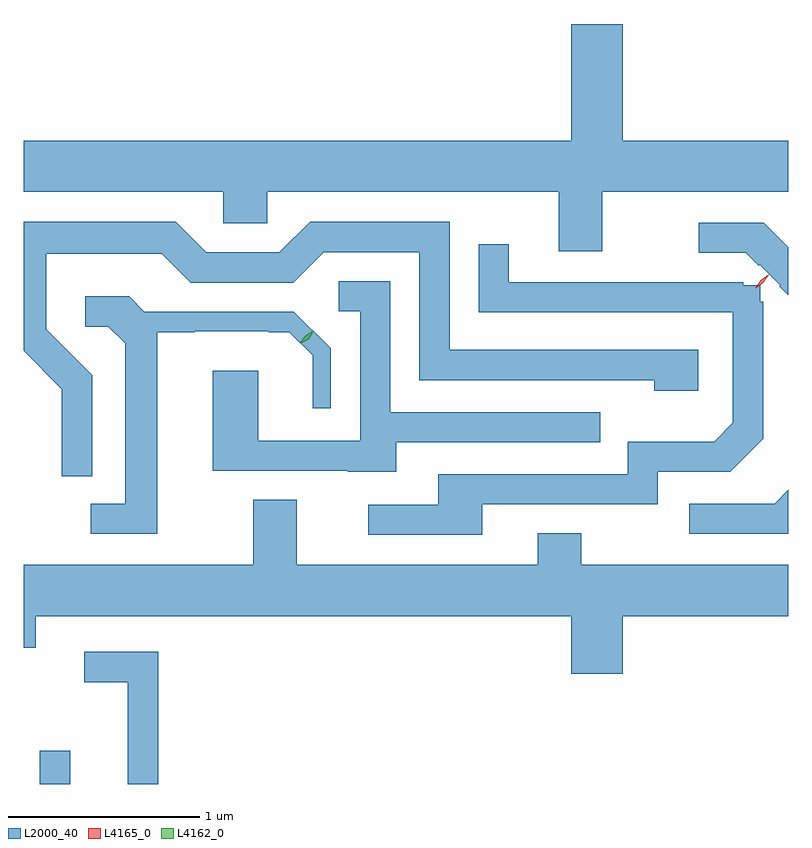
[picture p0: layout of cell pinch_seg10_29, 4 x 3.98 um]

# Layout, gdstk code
import gdstk
lib = gdstk.Library(unit=1e-6, precision=1e-09)
def R(c, l, rs):  # rectangles x0, y0, x1, y1
    for r in rs: c.add(gdstk.rectangle(r[:2], r[2:], *l))
def P(c, l, *ps):  # polygons
    for p in ps: c.add(gdstk.Polygon(p, *l))
L2000_40 = (2000, 40)
L4162_0 = (4162, 0)
L4165_0 = (4165, 0)

pinch_seg10_29 = lib.new_cell('pinch_seg10_29')
R(pinch_seg10_29, L2000_40, [(591.916,2181.858,592.074,2182.033)])
P(pinch_seg10_29, L2000_40, [(594.859,2184.956),(595.831,2184.956),(595.831,2185.224),(594.964,2185.224),(594.964,2185.834),(594.696,2185.834),(594.696,2185.224),(591.831,2185.224),(591.831,2184.956),(592.876,2184.956),(592.876,2184.791),(593.104,2184.791),(593.104,2184.956),(594.631,2184.956),(594.631,2184.646),(594.859,2184.646)],
  [(592.189,2183.997),(591.949,2184.237),(591.949,2184.631),(592.554,2184.631),(592.704,2184.481),(593.242,2184.481),(593.402,2184.641),(593.901,2184.641),(593.901,2183.971),(595.131,2183.971),(595.131,2183.916),(595.359,2183.916),(595.359,2184.129),(594.059,2184.129),(594.059,2184.799),(593.329,2184.799),(593.169,2184.639),(592.787,2184.639),(592.627,2184.799),(591.831,2184.799),(591.831,2184.124),(592.031,2183.924),(592.031,2183.468),(592.189,2183.468)],
  [(595.831,2184.665),(595.702,2184.794),(595.363,2184.794),(595.363,2184.636),(595.609,2184.636),(595.676,2184.569),(595.681,2184.575),(595.79,2184.466),(595.784,2184.461),(595.831,2184.414)],
  [(594.229,2183.321),(595.149,2183.321),(595.149,2183.491),(595.527,2183.491),(595.699,2183.664),(595.699,2184.38),(595.683,2184.38),(595.683,2184.468),(595.595,2184.468),(595.595,2184.484),(594.369,2184.484),(594.369,2184.683),(594.211,2184.683),(594.211,2184.326),(595.541,2184.326),(595.541,2183.747),(595.444,2183.649),(594.991,2183.649),(594.991,2183.479),(594.001,2183.479),(594.001,2183.319),(593.633,2183.319),(593.633,2183.161),(594.229,2183.161)],
  [(593.779,2183.646),(594.848,2183.646),(594.848,2183.804),(593.749,2183.804),(593.749,2184.489),(593.478,2184.489),(593.478,2184.331),(593.591,2184.331),(593.591,2183.654),(593.059,2183.654),(593.059,2184.019),(592.821,2184.019),(592.821,2183.496),(593.525,2183.496),(593.525,2183.491),(593.779,2183.491)],
  [(592.529,2184.221),(592.725,2184.221),(592.725,2184.226),(593.114,2184.226),(593.114,2184.222),(593.221,2184.222),(593.343,2184.1),(593.343,2183.823),(593.437,2183.823),(593.437,2184.138),(593.245,2184.329),(592.462,2184.329),(592.382,2184.409),(592.153,2184.409),(592.153,2184.251),(592.274,2184.251),(592.361,2184.164),(592.361,2183.324),(592.183,2183.324),(592.183,2183.166),(592.529,2183.166)],
  [(595.831,2183.397),(595.759,2183.324),(595.313,2183.324),(595.313,2183.166),(595.831,2183.166)],
  [(594.964,2182.736),(595.831,2182.736),(595.831,2183.004),(594.749,2183.004),(594.749,2183.169),(594.521,2183.169),(594.521,2183.004),(593.259,2183.004),(593.259,2183.344),(593.031,2183.344),(593.031,2183.004),(591.831,2183.004),(591.831,2182.571),(591.894,2182.571),(591.894,2182.736),(594.696,2182.736),(594.696,2182.436),(594.964,2182.436)],
  [(592.534,2182.549),(592.148,2182.549),(592.148,2182.391),(592.376,2182.391),(592.376,2181.858),(592.534,2181.858)])
P(pinch_seg10_29, L4162_0, [(593.279,2184.165),(593.279,2184.166),(593.304,2184.204),(593.343,2184.23),(593.344,2184.23),(593.344,2184.229),(593.319,2184.19),(593.28,2184.165)],
  [(593.287,2184.166),(593.287,2184.166),(593.308,2184.2),(593.342,2184.221),(593.343,2184.221),(593.343,2184.22),(593.322,2184.186),(593.288,2184.166)])
P(pinch_seg10_29, L4165_0, [(595.658,2184.452),(595.658,2184.452),(595.686,2184.494),(595.727,2184.522),(595.728,2184.522),(595.728,2184.522),(595.7,2184.48),(595.659,2184.452)],
  [(595.661,2184.452),(595.661,2184.453),(595.687,2184.494),(595.726,2184.521),(595.727,2184.521),(595.727,2184.52),(595.701,2184.48),(595.662,2184.452)])

lib.write_gds('pinch_seg10_29.gds')
